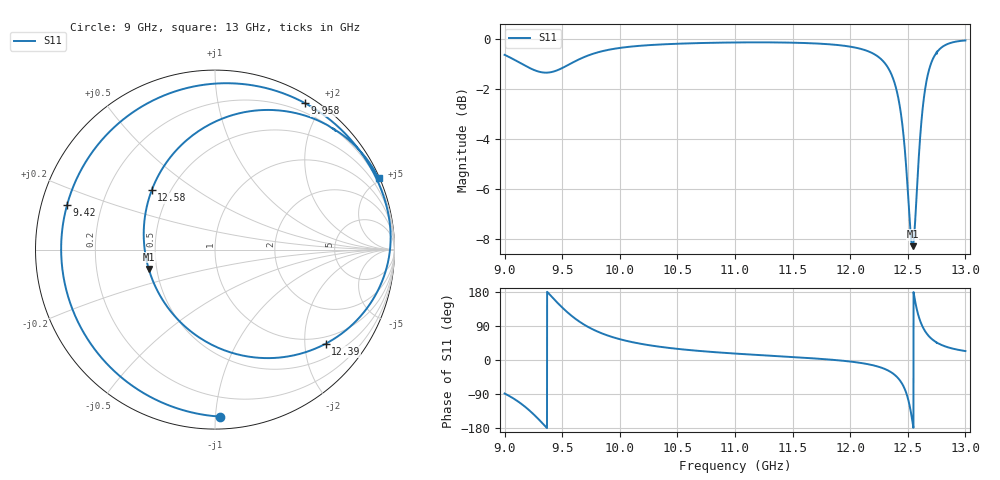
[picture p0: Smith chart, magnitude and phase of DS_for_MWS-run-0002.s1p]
! TOUCHSTONE file generated by CST DESIGN STUDIO
! Date and time: Tue Feb  4 16:12:15 2025
! Project name: C:\Work\MatlabApps\UnitCellOptimizationMatlab\CST\unitcell.cst
! Tree item: Tasks\Sweep1\SPara1\S-Parameters
! Header version: 2024
! Port assignment regex: !\s*Touchstone port\s*([0-9]+)\s*=\s*(CST MWS port|CST DES external port|CST DES block port)\s*(.+)\s* \(\"(.*)\"\)(\s*mode\s*([0-9]+))?.*
! Touchstone port assignment:
! Touchstone port 1 = CST DES external port 1 ("")
# GHz S MA R 50
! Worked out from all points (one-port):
!   4001 points, 9 GHz to 13 GHz, reference 50 ohm
!   lowest |S11| = -8.3 dB at 12.54 GHz (marker M1), VSWR 2.25, Z = 22.6 - j5.74 ohm
!   |S11| at or under -10 dB: nowhere
!   S11 on the Smith chart (normalised r, x): 9 GHz: 0.07, -1.03; 9.42 GHz: 0.08, +0.15; 9.958 GHz: 0.09, +1.78; 12.39 GHz: 0.82, -2.48; 12.58 GHz: 0.40, +0.34; 13 GHz: 0.06, +4.79
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9  0.9307 -88.4
9.11  0.9032 -108.1
9.205  0.8787 -130.4
9.322  0.8586 -164.8
9.42  0.861 163.3
9.5  0.8756 138.6
9.585  0.8966 115.7
9.678  0.9185 95.6
9.812  0.9419 74.3
9.958  0.9576 58.5
10  0.9609 54.9
10.214  0.9719 41.1
10.5  0.9796 29.4
11  0.9854 17.0
11.5  0.9844 7.8
12  0.9665 -4.0
12.257  0.9172 -18.8
12.391  0.8091 -40.4
12.457  0.6607 -66.1
12.5  0.4972 -100.2
12.541  0.3847 -163.7
12.576  0.4838 136.7
12.607  0.6353 103.5
12.639  0.7605 81.8
12.687  0.8728 61.6
12.74  0.9334 48.2
12.843  0.978 34.0
13  0.9946 23.6
